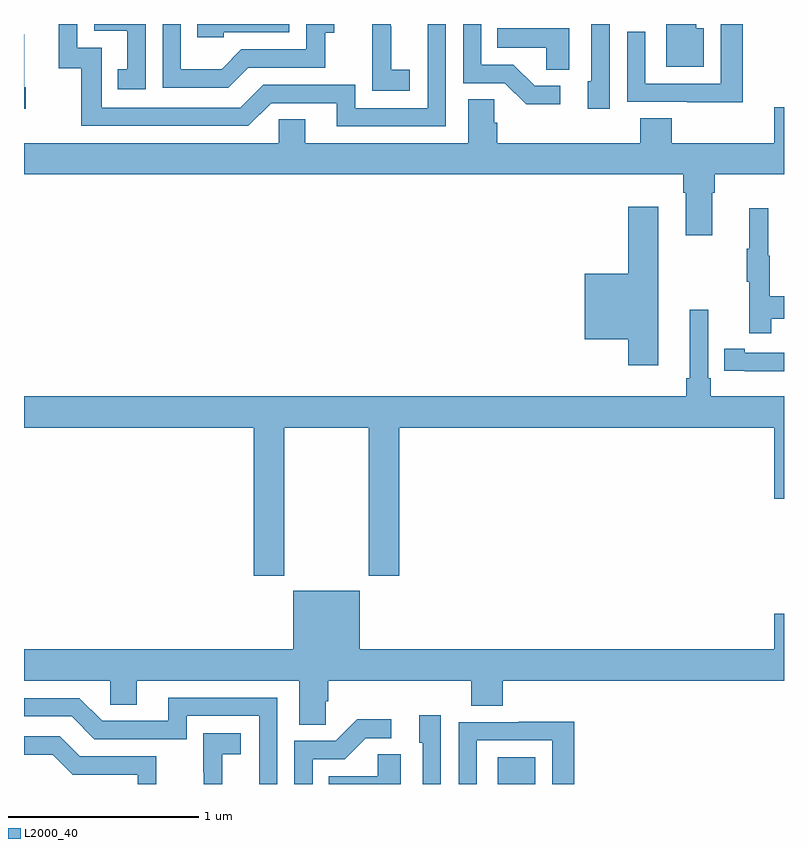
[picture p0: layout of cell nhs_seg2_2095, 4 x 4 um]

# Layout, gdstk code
import gdstk
lib = gdstk.Library(unit=1e-6, precision=1e-09)
def R(c, l, rs):  # rectangles x0, y0, x1, y1
    for r in rs: c.add(gdstk.rectangle(r[:2], r[2:], *l))
def P(c, l, *ps):  # polygons
    for p in ps: c.add(gdstk.Polygon(p, *l))
L2000_40 = (2000, 40)

nhs_seg2_2095 = lib.new_cell('nhs_seg2_2095')
R(nhs_seg2_2095, L2000_40, [(223.493,605.8,223.69,605.941)])
P(nhs_seg2_2095, L2000_40, [(224.082,609.8),(223.986,609.8),(223.986,609.498),(223.967,609.498),(223.967,609.354),(224.082,609.354)],
  [(223.221,609.8),(223.125,609.8),(223.125,609.357),(222.744,609.357),(222.744,609.48),(222.258,609.48),(222.138,609.36),(221.409,609.36),(221.409,609.675),(221.28,609.675),(221.28,609.8),(221.183,609.8),(221.183,609.567),(221.301,609.567),(221.301,609.264),(222.18,609.264),(222.3,609.384),(222.647,609.384),(222.647,609.261),(223.221,609.261)],
  [(221.64,609.8),(221.37,609.8),(221.37,609.765),(221.543,609.765),(221.543,609.561),(221.494,609.561),(221.494,609.456),(221.64,609.456)],
  [(224.783,609.8),(224.667,609.8),(224.667,609.486),(224.271,609.486),(224.271,609.76),(224.175,609.76),(224.175,609.39),(224.491,609.39),(224.491,609.389),(224.783,609.389)],
  [(224.578,609.778),(224.539,609.778),(224.539,609.8),(224.381,609.8),(224.381,609.575),(224.578,609.575)],
  [(223.822,609.474),(223.687,609.474),(223.576,609.585),(223.407,609.585),(223.407,609.8),(223.311,609.8),(223.311,609.489),(223.53,609.489),(223.643,609.377),(223.822,609.377)],
  [(222.051,609.756),(222.396,609.756),(222.396,609.8),(221.911,609.8),(221.911,609.729),(222.051,609.729)],
  [(223.03,609.559),(222.932,609.559),(222.932,609.788),(222.93,609.788),(222.93,609.8),(222.833,609.8),(222.833,609.655),(222.832,609.655),(222.832,609.449),(223.03,609.449)],
  [(222.181,609.57),(222.585,609.57),(222.585,609.755),(222.634,609.755),(222.634,609.8),(222.486,609.8),(222.486,609.666),(222.144,609.666),(222.04,609.562),(221.826,609.562),(221.826,609.8),(221.73,609.8),(221.73,609.465),(222.076,609.465)],
  [(223.87,609.778),(223.492,609.778),(223.492,609.674),(223.749,609.674),(223.749,609.559),(223.87,609.559)],
  [(221.01,609.466),(221.002,609.466),(221.002,609.745),(221,609.745),(221,609.354),(221.01,609.354)],
  [(224.623,608.912),(224.636,608.912),(224.636,609.008),(225,609.008),(225,609.361),(224.948,609.361),(224.948,609.172),(224.408,609.172),(224.408,609.305),(224.243,609.305),(224.243,609.172),(223.49,609.172),(223.49,609.281),(223.476,609.281),(223.476,609.404),(223.337,609.404),(223.337,609.172),(222.481,609.172),(222.481,609.299),(222.342,609.299),(222.342,609.172),(221,609.172),(221,609.008),(224.471,609.008),(224.471,608.912),(224.483,608.912),(224.483,608.688),(224.623,608.688)],
  [(224.338,608.839),(224.18,608.839),(224.18,608.485),(223.952,608.485),(223.952,608.141),(224.18,608.141),(224.18,608.004),(224.338,608.004)],
  [(224.933,608.25),(225,608.25),(225,608.366),(224.926,608.366),(224.926,608.58),(224.918,608.58),(224.918,608.83),(224.816,608.83),(224.816,608.617),(224.805,608.617),(224.805,608.443),(224.816,608.443),(224.816,608.172),(224.933,608.172)],
  [(225,608.07),(224.794,608.07),(224.794,608.09),(224.686,608.09),(224.686,607.974),(224.794,607.974),(224.794,607.973),(225,607.973)],
  [(224.504,608.296),(224.504,607.936),(224.485,607.936),(224.485,607.84),(221,607.84),(221,607.676),(222.209,607.676),(222.209,606.897),(222.369,606.897),(222.369,607.676),(222.814,607.676),(222.814,606.897),(222.974,606.897),(222.974,607.676),(224.948,607.676),(224.948,607.302),(225,607.302),(225,607.84),(224.615,607.84),(224.615,607.936),(224.601,607.936),(224.601,608.296)],
  [(222.588,606.235),(222.602,606.235),(222.602,606.344),(223.355,606.344),(223.355,606.211),(223.52,606.211),(223.52,606.344),(225,606.344),(225,606.697),(224.948,606.697),(224.948,606.508),(222.766,606.508),(222.766,606.817),(222.416,606.817),(222.416,606.508),(221,606.508),(221,606.344),(221.454,606.344),(221.454,606.217),(221.593,606.217),(221.593,606.344),(222.449,606.344),(222.449,606.112),(222.588,606.112)],
  [(222.333,606.255),(221.759,606.255),(221.759,606.132),(221.412,606.132),(221.292,606.252),(221,606.252),(221,606.156),(221.25,606.156),(221.37,606.036),(221.856,606.036),(221.856,606.159),(222.237,606.159),(222.237,605.8),(222.333,605.8)],
  [(223.194,606.163),(223.079,606.163),(223.079,606.018),(223.098,606.018),(223.098,605.8),(223.194,605.8)],
  [(222.519,605.931),(222.688,605.931),(222.799,606.042),(222.934,606.042),(222.934,606.14),(222.755,606.14),(222.642,606.027),(222.423,606.027),(222.423,605.8),(222.519,605.8)],
  [(223.383,606.03),(223.779,606.03),(223.779,605.8),(223.895,605.8),(223.895,606.128),(223.603,606.128),(223.603,606.126),(223.287,606.126),(223.287,605.8),(223.383,605.8)],
  [(222.044,605.957),(222.142,605.957),(222.142,606.067),(221.944,606.067),(221.944,605.861),(221.945,605.861),(221.945,605.8),(222.044,605.8)],
  [(221.697,605.946),(221.293,605.946),(221.188,606.051),(221,606.051),(221,605.954),(221.152,605.954),(221.256,605.85),(221.598,605.85),(221.598,605.8),(221.697,605.8)],
  [(222.982,605.957),(222.861,605.957),(222.861,605.842),(222.604,605.842),(222.604,605.8),(222.982,605.8)])

lib.write_gds('nhs_seg2_2095.gds')
